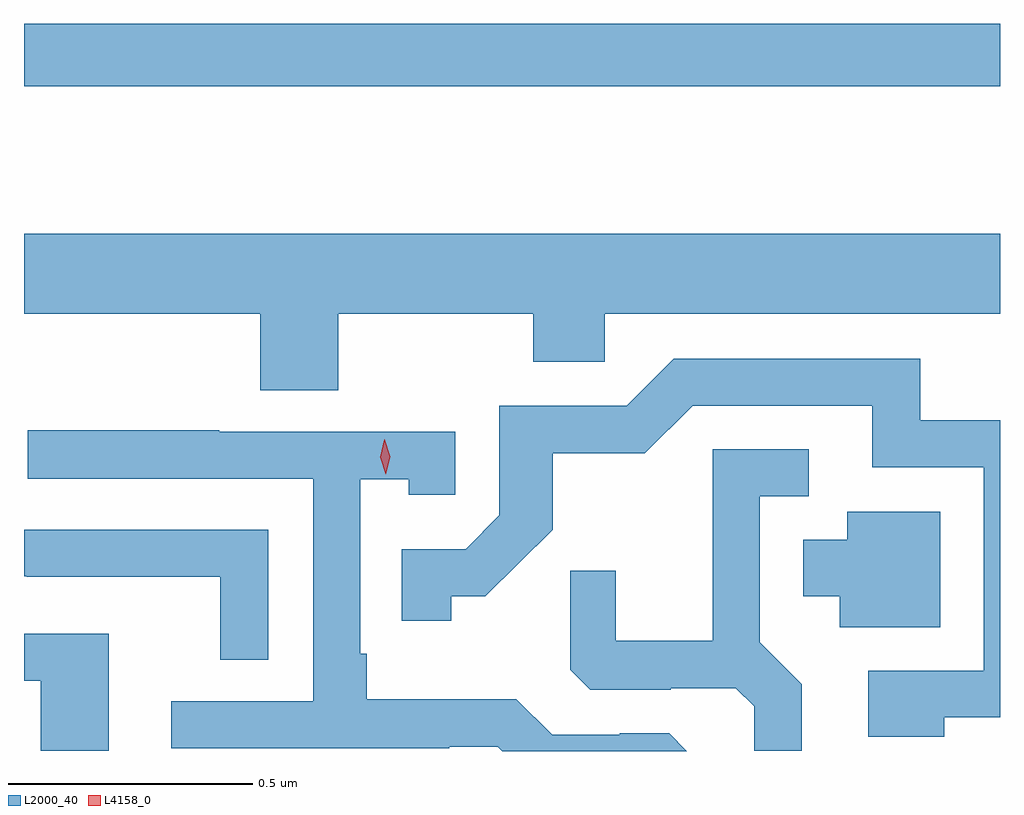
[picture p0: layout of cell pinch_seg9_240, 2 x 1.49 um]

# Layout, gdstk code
import gdstk
lib = gdstk.Library(unit=1e-6, precision=1e-09)
def R(c, l, rs):  # rectangles x0, y0, x1, y1
    for r in rs: c.add(gdstk.rectangle(r[:2], r[2:], *l))
def P(c, l, *ps):  # polygons
    for p in ps: c.add(gdstk.Polygon(p, *l))
L2000_40 = (2000, 40)
L4158_0 = (4158, 0)

pinch_seg9_240 = lib.new_cell('pinch_seg9_240')
R(pinch_seg9_240, L2000_40, [(434.935,1243.506,436.935,1243.634)])
P(pinch_seg9_240, L2000_40, [(435.579,1243.04),(435.979,1243.04),(435.979,1242.942),(436.125,1242.942),(436.125,1243.04),(436.935,1243.04),(436.935,1243.204),(434.935,1243.204),(434.935,1243.04),(435.419,1243.04),(435.419,1242.883),(435.579,1242.883)],
  [(436.821,1242.213),(436.935,1242.213),(436.935,1242.822),(436.772,1242.822),(436.772,1242.948),(436.266,1242.948),(436.17,1242.852),(435.909,1242.852),(435.909,1242.627),(435.84,1242.558),(435.709,1242.558),(435.709,1242.411),(435.81,1242.411),(435.81,1242.461),(435.88,1242.461),(436.018,1242.598),(436.018,1242.754),(436.207,1242.754),(436.305,1242.852),(436.673,1242.852),(436.673,1242.726),(436.902,1242.726),(436.902,1242.309),(436.665,1242.309),(436.665,1242.173),(436.821,1242.173)],
  [(436.257,1242.18),(436.156,1242.18),(436.156,1242.177),(436.017,1242.177),(435.944,1242.25),(435.637,1242.25),(435.637,1242.343),(435.624,1242.343),(435.624,1242.701),(435.723,1242.701),(435.723,1242.669),(435.819,1242.669),(435.819,1242.798),(435.335,1242.798),(435.335,1242.801),(434.943,1242.801),(434.943,1242.702),(435.528,1242.702),(435.528,1242.246),(435.237,1242.246),(435.237,1242.15),(435.806,1242.15),(435.806,1242.153),(435.906,1242.153),(435.915,1242.144),(436.293,1242.144)],
  [(436.529,1242.281),(436.443,1242.367),(436.443,1242.666),(436.543,1242.666),(436.543,1242.762),(436.346,1242.762),(436.346,1242.37),(436.148,1242.37),(436.148,1242.513),(436.054,1242.513),(436.054,1242.311),(436.095,1242.27),(436.26,1242.27),(436.26,1242.273),(436.394,1242.273),(436.431,1242.236),(436.431,1242.145),(436.529,1242.145)],
  [(436.813,1242.634),(436.622,1242.634),(436.622,1242.577),(436.532,1242.577),(436.532,1242.461),(436.607,1242.461),(436.607,1242.398),(436.813,1242.398)],
  [(435.435,1242.597),(434.935,1242.597),(434.935,1242.502),(434.941,1242.502),(434.941,1242.501),(435.337,1242.501),(435.337,1242.331),(435.435,1242.331)],
  [(435.109,1242.384),(434.935,1242.384),(434.935,1242.288),(434.969,1242.288),(434.969,1242.145),(435.109,1242.145)])
P(pinch_seg9_240, L4158_0, [(435.676,1242.711),(435.676,1242.711),(435.665,1242.746),(435.673,1242.782),(435.674,1242.783),(435.674,1242.782),(435.685,1242.747),(435.676,1242.711)])

lib.write_gds('pinch_seg9_240.gds')
